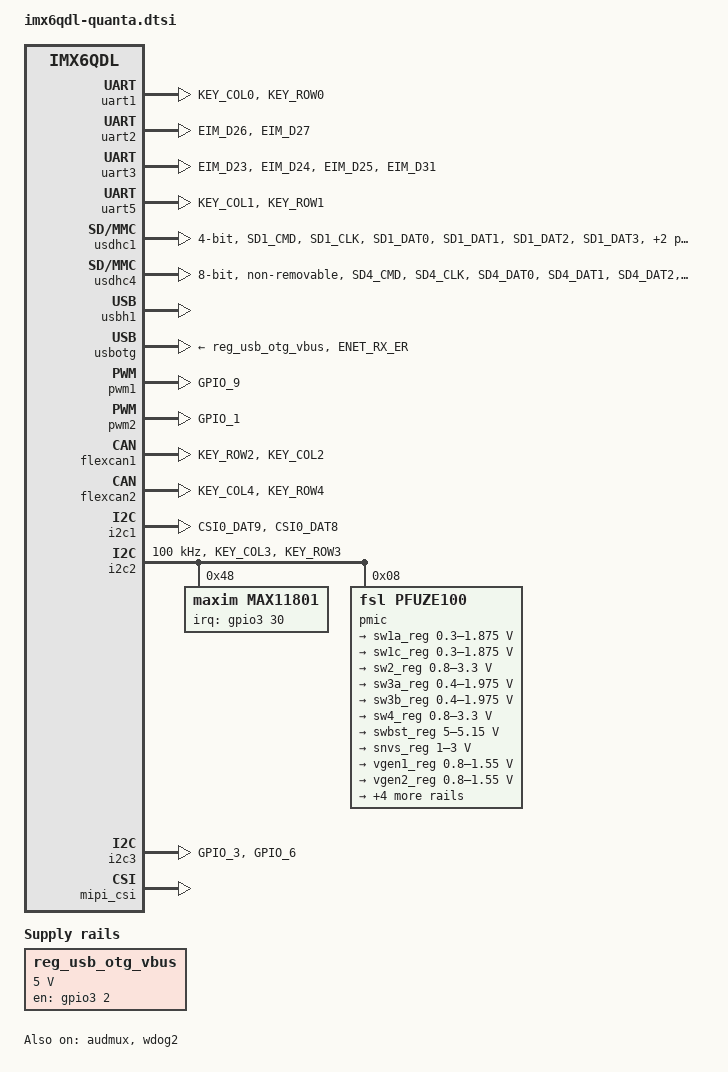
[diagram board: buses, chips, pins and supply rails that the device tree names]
/*
 * Copyright (C) 2015 Quanta Tecnologia Eletronica, LTDA.
 */

#include <dt-bindings/gpio/gpio.h>

/ {
	regulators {
		compatible = "simple-bus";
		#address-cells = <1>;
		#size-cells = <0>;

		reg_usb_otg_vbus: regulator@0 {
			compatible = "regulator-fixed";
			reg = <0>;
			regulator-name = "usb_otg_vbus";
			regulator-min-microvolt = <5000000>;
			regulator-max-microvolt = <5000000>;
			gpio = <&gpio3 2 2>;
			enable-active-high;
		};
	};

	lcd@0 {
		compatible = "fsl,lcd";
		ipu_id = <0>;
		disp_id = <0>;
		default_ifmt = "RGB24";
		pinctrl-names = "default";
		pinctrl-0 = <&pinctrl_ipu>;
		status = "okay";
	};

	v4l2_cap_0 {
		compatible = "fsl,imx6q-v4l2-capture";
		ipu_id = <0>;
		csi_id = <0>;
		mclk_source = <0>;
		status = "okay";
	};

	v4l2_cap_1 {
		compatible = "fsl,imx6q-v4l2-capture";
		ipu_id = <0>;
		csi_id = <1>;
		mclk_source = <0>;
		status = "okay";
	};

	v4l2_out {
		compatible = "fsl,mxc_v4l2_output";
		status = "okay";
	};

};

&iomuxc {
	pinctrl-names = "default";

	quanta {
		pinctrl_uart1: pinmux-uart1 {
			fsl,pins = <
				MX6QDL_PAD_KEY_COL0__UART4_TX_DATA	0x1b0b1
				MX6QDL_PAD_KEY_ROW0__UART4_RX_DATA	0x1b0b1
			>;
		};

		pinctrl_uart2: pinmux-uart2 {
			fsl,pins = <
				MX6QDL_PAD_EIM_D26__UART2_TX_DATA	0x1b0b1
				MX6QDL_PAD_EIM_D27__UART2_RX_DATA	0x1b0b1
			>;
		};

		pinctrl_uart3: pinmux-uart3 {
			fsl,pins = <
				MX6QDL_PAD_EIM_D23__UART3_CTS_B		0x1b0b1
				MX6QDL_PAD_EIM_D24__UART3_RX_DATA	0x1b0b1
				MX6QDL_PAD_EIM_D25__UART3_TX_DATA	0x1b0b1
				MX6QDL_PAD_EIM_D31__UART3_RTS_B		0x1b0b1
			>;
		};

		pinctrl_uart5: pinmux-uart5 {
			fsl,pins = <
				MX6QDL_PAD_KEY_COL1__UART5_TX_DATA	0x1b0b1
				MX6QDL_PAD_KEY_ROW1__UART5_RX_DATA	0x1b0b1
			>;
		};

		pinctrl_usdhc1: pinmux-usdhc1 {
			fsl,pins = <
				MX6QDL_PAD_SD1_CMD__SD1_CMD    0x17059
				MX6QDL_PAD_SD1_CLK__SD1_CLK    0x10059
				MX6QDL_PAD_SD1_DAT0__SD1_DATA0 0x17059
				MX6QDL_PAD_SD1_DAT1__SD1_DATA1 0x17059
				MX6QDL_PAD_SD1_DAT2__SD1_DATA2 0x17059
				MX6QDL_PAD_SD1_DAT3__SD1_DATA3 0x17059
			>;
		};

		pinctrl_usdhc2: pinmux-usdhc2 {
			fsl,pins = <
				MX6QDL_PAD_SD2_CMD__SD2_CMD    0x17059
				MX6QDL_PAD_SD2_CLK__SD2_CLK    0x10059
				MX6QDL_PAD_SD2_DAT0__SD2_DATA0 0x17059
				MX6QDL_PAD_SD2_DAT1__SD2_DATA1 0x17059
				MX6QDL_PAD_SD2_DAT2__SD2_DATA2 0x17059
				MX6QDL_PAD_SD2_DAT3__SD2_DATA3 0x17059
			>;
		};

		pinctrl_usdhc4: pinmux-usdhc4 {
			fsl,pins = <
				MX6QDL_PAD_SD4_CMD__SD4_CMD    0x17059
				MX6QDL_PAD_SD4_CLK__SD4_CLK    0x10059
				MX6QDL_PAD_SD4_DAT0__SD4_DATA0 0x17059
				MX6QDL_PAD_SD4_DAT1__SD4_DATA1 0x17059
				MX6QDL_PAD_SD4_DAT2__SD4_DATA2 0x17059
				MX6QDL_PAD_SD4_DAT3__SD4_DATA3 0x17059
				MX6QDL_PAD_SD4_DAT4__SD4_DATA4 0x17059
				MX6QDL_PAD_SD4_DAT5__SD4_DATA5 0x17059
				MX6QDL_PAD_SD4_DAT6__SD4_DATA6 0x17059
				MX6QDL_PAD_SD4_DAT7__SD4_DATA7 0x17059
			>;
		};

		pinctrl_usbotg: pinmux-usbotg {
			fsl,pins = <
				MX6QDL_PAD_ENET_RX_ER__USB_OTG_ID	0x17059
			>;
		};

		pinctrl_pwm1: pinmux-pwm1 {
			fsl,pins = <
				MX6QDL_PAD_GPIO_9__PWM1_OUT		0x1b0b1
			>;
		};

		pinctrl_pwm2: pinmux-pwm2 {
			fsl,pins = <
				MX6QDL_PAD_GPIO_1__PWM2_OUT		0x1b0b1
			>;
		};

		pinctrl_flexcan1: pinmux-flexcan1 {
			fsl,pins = <
				MX6QDL_PAD_KEY_ROW2__FLEXCAN1_RX	0x80000000
				MX6QDL_PAD_KEY_COL2__FLEXCAN1_TX	0x80000000
			>;
		};

		pinctrl_flexcan2: pinmux-flexcan2 {
			fsl,pins = <
				MX6QDL_PAD_KEY_COL4__FLEXCAN2_TX	0x80000000
				MX6QDL_PAD_KEY_ROW4__FLEXCAN2_RX	0x80000000
			>;
		};

		pinctrl_i2c1: pinmux-i2c1 {
			fsl,pins = <
				MX6QDL_PAD_CSI0_DAT9__I2C1_SCL  	0x4001b8b1
				MX6QDL_PAD_CSI0_DAT8__I2C1_SDA 		0x4001b8b1
			>;
		};

		pinctrl_i2c2: pinmux-i2c2 {
			fsl,pins = <
				MX6QDL_PAD_KEY_COL3__I2C2_SCL  		0x4001b8b1
				MX6QDL_PAD_KEY_ROW3__I2C2_SDA 		0x4001b8b1
			>;
		};

		pinctrl_i2c3: pinmux-i2c3 {
			fsl,pins = <
				MX6QDL_PAD_GPIO_3__I2C3_SCL  		0x4001b8b1
				MX6QDL_PAD_GPIO_6__I2C3_SDA 		0x4001b8b1
			>;
		};

		pinctrl_ecspi1: pinmux-spi0 {
			fsl,pins = <
				MX6QDL_PAD_EIM_D17__ECSPI1_MISO		0x100b1
				MX6QDL_PAD_EIM_D18__ECSPI1_MOSI		0x100b1
				MX6QDL_PAD_EIM_D16__ECSPI1_SCLK		0x100b1
			>;
		};

		pinctrl_ecspi2: pinmux-spi1 {
			fsl,pins = <
				MX6QDL_PAD_EIM_OE__ECSPI2_MISO		0x100b1
				MX6QDL_PAD_EIM_CS1__ECSPI2_MOSI		0x100b1
				MX6QDL_PAD_EIM_CS0__ECSPI2_SCLK		0x100b1
			>;
		};

		pinctrl_audmux3: pinmux-audmux0 {
			fsl,pins = <
				MX6QDL_PAD_CSI0_DAT7__AUD3_RXD		0x130b0
				MX6QDL_PAD_CSI0_DAT4__AUD3_TXC		0x130b0
				MX6QDL_PAD_CSI0_DAT5__AUD3_TXD		0x110b0
				MX6QDL_PAD_CSI0_DAT6__AUD3_TXFS		0x130b0
			>;
		};

		pinctrl_audmux4: pinmux-audmux1 {
			fsl,pins = <
				MX6QDL_PAD_SD2_DAT0__AUD4_RXD		0x130b0
				MX6QDL_PAD_SD2_DAT3__AUD4_TXC		0x130b0
				MX6QDL_PAD_SD2_DAT2__AUD4_TXD		0x110b0
				MX6QDL_PAD_SD2_DAT1__AUD4_TXFS		0x130b0
				MX6QDL_PAD_SD2_CLK__AUD4_RXFS		0x130b0
				MX6QDL_PAD_SD2_CMD__AUD4_RXC 		0x130b0
			>;
		};

		pinctrl_ipu: pinmux-ipu { /* parallel rgb */
			fsl,pins = <
				MX6QDL_PAD_DI0_DISP_CLK__IPU1_DI0_DISP_CLK 0x10
				MX6QDL_PAD_DI0_PIN15__IPU1_DI0_PIN15       0x10
				MX6QDL_PAD_DI0_PIN2__IPU1_DI0_PIN02        0x10
				MX6QDL_PAD_DI0_PIN3__IPU1_DI0_PIN03        0x10
				MX6QDL_PAD_DI0_PIN4__IPU1_DI0_PIN04        0x80000000
				MX6QDL_PAD_DISP0_DAT0__IPU1_DISP0_DATA00   0x10
				MX6QDL_PAD_DISP0_DAT1__IPU1_DISP0_DATA01   0x10
				MX6QDL_PAD_DISP0_DAT2__IPU1_DISP0_DATA02   0x10
				MX6QDL_PAD_DISP0_DAT3__IPU1_DISP0_DATA03   0x10
				MX6QDL_PAD_DISP0_DAT4__IPU1_DISP0_DATA04   0x10
				MX6QDL_PAD_DISP0_DAT5__IPU1_DISP0_DATA05   0x10
				MX6QDL_PAD_DISP0_DAT6__IPU1_DISP0_DATA06   0x10
				MX6QDL_PAD_DISP0_DAT7__IPU1_DISP0_DATA07   0x10
				MX6QDL_PAD_DISP0_DAT8__IPU1_DISP0_DATA08   0x10
				MX6QDL_PAD_DISP0_DAT9__IPU1_DISP0_DATA09   0x10
				MX6QDL_PAD_DISP0_DAT10__IPU1_DISP0_DATA10  0x10
				MX6QDL_PAD_DISP0_DAT11__IPU1_DISP0_DATA11  0x10
				MX6QDL_PAD_DISP0_DAT12__IPU1_DISP0_DATA12  0x10
				MX6QDL_PAD_DISP0_DAT13__IPU1_DISP0_DATA13  0x10
				MX6QDL_PAD_DISP0_DAT14__IPU1_DISP0_DATA14  0x10
				MX6QDL_PAD_DISP0_DAT15__IPU1_DISP0_DATA15  0x10
				MX6QDL_PAD_DISP0_DAT16__IPU1_DISP0_DATA16  0x10
				MX6QDL_PAD_DISP0_DAT17__IPU1_DISP0_DATA17  0x10
				MX6QDL_PAD_DISP0_DAT18__IPU1_DISP0_DATA18  0x10
				MX6QDL_PAD_DISP0_DAT19__IPU1_DISP0_DATA19  0x10
				MX6QDL_PAD_DISP0_DAT20__IPU1_DISP0_DATA20  0x10
				MX6QDL_PAD_DISP0_DAT21__IPU1_DISP0_DATA21  0x10
				MX6QDL_PAD_DISP0_DAT22__IPU1_DISP0_DATA22  0x10
				MX6QDL_PAD_DISP0_DAT23__IPU1_DISP0_DATA23  0x10
			>;
		};

		pinctrl_csi: pinmux-csi { /* parallel camera */
			fsl,pins = <
				MX6QDL_PAD_CSI0_DAT12__IPU1_CSI0_DATA12    0x80000000
				MX6QDL_PAD_CSI0_DAT13__IPU1_CSI0_DATA13    0x80000000
				MX6QDL_PAD_CSI0_DAT14__IPU1_CSI0_DATA14    0x80000000
				MX6QDL_PAD_CSI0_DAT15__IPU1_CSI0_DATA15    0x80000000
				MX6QDL_PAD_CSI0_DAT16__IPU1_CSI0_DATA16    0x80000000
				MX6QDL_PAD_CSI0_DAT17__IPU1_CSI0_DATA17    0x80000000
				MX6QDL_PAD_CSI0_DAT18__IPU1_CSI0_DATA18    0x80000000
				MX6QDL_PAD_CSI0_DAT19__IPU1_CSI0_DATA19    0x80000000
				MX6QDL_PAD_CSI0_PIXCLK__IPU1_CSI0_PIXCLK   0x80000000
				MX6QDL_PAD_CSI0_MCLK__IPU1_CSI0_HSYNC      0x80000000
				MX6QDL_PAD_CSI0_VSYNC__IPU1_CSI0_VSYNC     0x80000000
			>;
		};

	};
};

&uart1 {
	pinctrl-names = "default";
	pinctrl-0 = <&pinctrl_uart1>;
	status = "okay";
};

&uart2 {
	pinctrl-names = "default";
	pinctrl-0 = <&pinctrl_uart2>;
	status = "okay";
};

&uart3 {
	pinctrl-names = "default";
	pinctrl-0 = <&pinctrl_uart3>;
	fsl,uart-has-rtscts;
	status = "okay";
};

&uart5 {
	pinctrl-names = "default";
	pinctrl-0 = <&pinctrl_uart5>;
	status = "okay";
};

/* USDHC1 - uSD Card */
&usdhc1 {
	pinctrl-names = "default";
	pinctrl-0 = <&pinctrl_usdhc1>;
	bus-width = <4>;
	cd-gpios = <&gpio1 0 1>;
	wp-gpios = <&gpio4 2 0>;
	no-1-8-v;
	keep-power-in-suspend;
	enable-sdio-wakeup;
	status = "okay";
};

/* USDHC4 - eMMC */
&usdhc4 {
	pinctrl-names = "default";
	pinctrl-0 = <&pinctrl_usdhc4>;
	bus-width = <8>;
	non-removable;
	no-1-8-v;
	keep-power-in-suspend;
	status = "okay";
};

&usbh1 {
	status = "okay";
};

&usbotg {
	vbus-supply = <&reg_usb_otg_vbus>;
	pinctrl-names = "default";
	pinctrl-0 = <&pinctrl_usbotg>;
	disable-over-current;
	status = "okay";
};

&pwm1 {
	pinctrl-names = "default";
	pinctrl-0 = <&pinctrl_pwm1>;
	status = "okay";
};

&pwm2 {
	pinctrl-names = "default";
	pinctrl-0 = <&pinctrl_pwm2>;
	status = "okay";
};

&flexcan1 {
	pinctrl-names = "default";
	pinctrl-0 = <&pinctrl_flexcan1>;
	status = "okay";
};

&flexcan2 {
	pinctrl-names = "default";
	pinctrl-0 = <&pinctrl_flexcan2>;
	status = "okay";
};

&i2c1 {
	pinctrl-names = "default";
	pinctrl-0 = <&pinctrl_i2c1>;
	status = "okay";
};

&i2c2 {
	clock-frequency = <100000>;
	pinctrl-names = "default";
	pinctrl-0 = <&pinctrl_i2c2>;
	status = "okay";

	max11801@48 {
		compatible = "maxim,max11801";
		reg = <0x48>;
		interrupt-parent = <&gpio3>;
		interrupts = <30 2>;
		work-mode = <1>;/*DCM mode*/
	};

	pmic: pfuze100@08 {
		compatible = "fsl,pfuze100";
		reg = <0x08>;

		regulators {
			sw1a_reg: sw1ab {
				regulator-min-microvolt = <300000>;
				regulator-max-microvolt = <1875000>;
				regulator-boot-on;
				regulator-always-on;
				regulator-ramp-delay = <6250>;
			};

			sw1c_reg: sw1c {
				regulator-min-microvolt = <300000>;
				regulator-max-microvolt = <1875000>;
				regulator-boot-on;
				regulator-always-on;
				regulator-ramp-delay = <6250>;
			};

			sw2_reg: sw2 {
				regulator-min-microvolt = <800000>;
				regulator-max-microvolt = <3300000>;
				regulator-boot-on;
				regulator-always-on;
			};

			sw3a_reg: sw3a {
				regulator-min-microvolt = <400000>;
				regulator-max-microvolt = <1975000>;
				regulator-boot-on;
				regulator-always-on;
			};

			sw3b_reg: sw3b {
				regulator-min-microvolt = <400000>;
				regulator-max-microvolt = <1975000>;
				regulator-boot-on;
				regulator-always-on;
			};

			sw4_reg: sw4 {
				regulator-min-microvolt = <800000>;
				regulator-max-microvolt = <3300000>;
			};

			swbst_reg: swbst {
				regulator-min-microvolt = <5000000>;
				regulator-max-microvolt = <5150000>;
			};

			snvs_reg: vsnvs {
				regulator-min-microvolt = <1000000>;
				regulator-max-microvolt = <3000000>;
				regulator-boot-on;
				regulator-always-on;
			};

			vref_reg: vrefddr {
				regulator-boot-on;
				regulator-always-on;
			};

			vgen1_reg: vgen1 {
				regulator-min-microvolt = <800000>;
				regulator-max-microvolt = <1550000>;
			};

			vgen2_reg: vgen2 {
				regulator-min-microvolt = <800000>;
				regulator-max-microvolt = <1550000>;
			};

			vgen3_reg: vgen3 {
				regulator-min-microvolt = <1800000>;
				regulator-max-microvolt = <3300000>;
			};

			vgen4_reg: vgen4 {
				regulator-min-microvolt = <1800000>;
				regulator-max-microvolt = <3300000>;
				regulator-always-on;
			};

			vgen5_reg: vgen5 {
				regulator-min-microvolt = <1800000>;
				regulator-max-microvolt = <3300000>;
				regulator-always-on;
			};

			vgen6_reg: vgen6 {
				regulator-min-microvolt = <1800000>;
				regulator-max-microvolt = <3300000>;
				regulator-always-on;
			};
		};
	};
};

&i2c3 {
	pinctrl-names = "default";
	pinctrl-0 = <&pinctrl_i2c3>;
	status = "okay";
};

&audmux {
	pinctrl-names = "default";
	pinctrl-0 = <&pinctrl_audmux3>;
	status = "okay";
};

&mipi_csi {
	status = "okay";
	ipu_id = <0>;
	csi_id = <1>;
	v_channel = <0>;
	lanes = <2>;
};

&wdog1 {
	status = "disabled";
};

&wdog2 {
	status = "okay";
};
